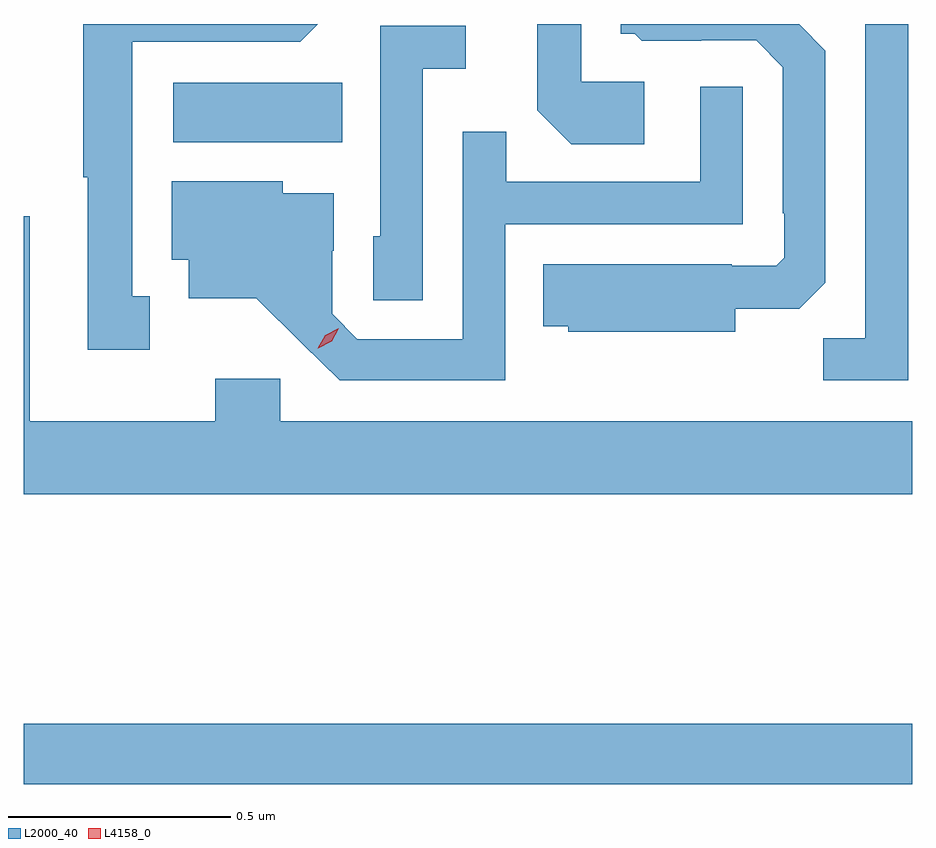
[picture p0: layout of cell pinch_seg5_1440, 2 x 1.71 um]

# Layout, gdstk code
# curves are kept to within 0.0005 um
import gdstk
lib = gdstk.Library(unit=1e-6, precision=1e-09)
def R(c, l, rs):  # rectangles x0, y0, x1, y1
    for r in rs: c.add(gdstk.rectangle(r[:2], r[2:], *l))
def P(c, l, *ps):  # polygons
    for p in ps: c.add(gdstk.Polygon(p, *l))
L2000_40 = (2000, 40)
L4158_0 = (4158, 0)

pinch_seg5_1440 = lib.new_cell('pinch_seg5_1440')
R(pinch_seg5_1440, L2000_40, [(165.899,894.736,167.899,894.872), (166.236,896.18,166.616,896.314)])
P(pinch_seg5_1440, L2000_40, [(166.183,895.833),(166.144,895.833),(166.144,896.406),(166.521,896.406),(166.561,896.446),(166.033,896.446),(166.033,896.101),(166.043,896.101),(166.043,895.713),(166.183,895.713)],
  [(167.296,896.316),(167.154,896.316),(167.154,896.446),(167.055,896.446),(167.055,896.252),(167.131,896.176),(167.296,896.176)],
  [(167.5,895.805),(167.644,895.805),(167.703,895.864),(167.703,896.386),(167.644,896.446),(167.243,896.446),(167.243,896.424),(167.274,896.424),(167.29,896.408),(167.424,896.408),(167.424,896.409),(167.547,896.409),(167.607,896.349),(167.607,896.02),(167.61,896.02),(167.61,895.92),(167.592,895.902),(167.492,895.902),(167.492,895.906),(167.068,895.906),(167.068,895.766),(167.124,895.766),(167.124,895.754),(167.5,895.754)],
  [(167.889,896.446),(167.793,896.446),(167.793,895.739),(167.698,895.739),(167.698,895.644),(167.889,895.644)],
  [(166.797,896.345),(166.894,896.345),(166.894,896.442),(166.701,896.442),(166.701,895.968),(166.686,895.968),(166.686,895.825),(166.797,895.825)],
  [(166.983,895.995),(167.517,895.995),(167.517,896.305),(167.421,896.305),(167.421,896.091),(166.985,896.091),(166.985,896.204),(166.887,896.204),(166.887,895.737),(166.65,895.737),(166.593,895.794),(166.593,895.936),(166.597,895.936),(166.597,896.065),(166.482,896.065),(166.482,896.092),(166.232,896.092),(166.232,895.916),(166.271,895.916),(166.271,895.829),(166.423,895.829),(166.61,895.644),(166.983,895.644)],
  [(167.899,895.552),(166.476,895.552),(166.476,895.648),(166.33,895.648),(166.33,895.552),(165.913,895.552),(165.913,896.014),(165.899,896.014),(165.899,895.388),(167.899,895.388)])
P(pinch_seg5_1440, L4158_0, [(166.561,895.716),(166.561,895.716),(166.578,895.746),(166.608,895.762),(166.608,895.762),(166.608,895.762),(166.592,895.732),(166.562,895.716)])

lib.write_gds('pinch_seg5_1440.gds')
